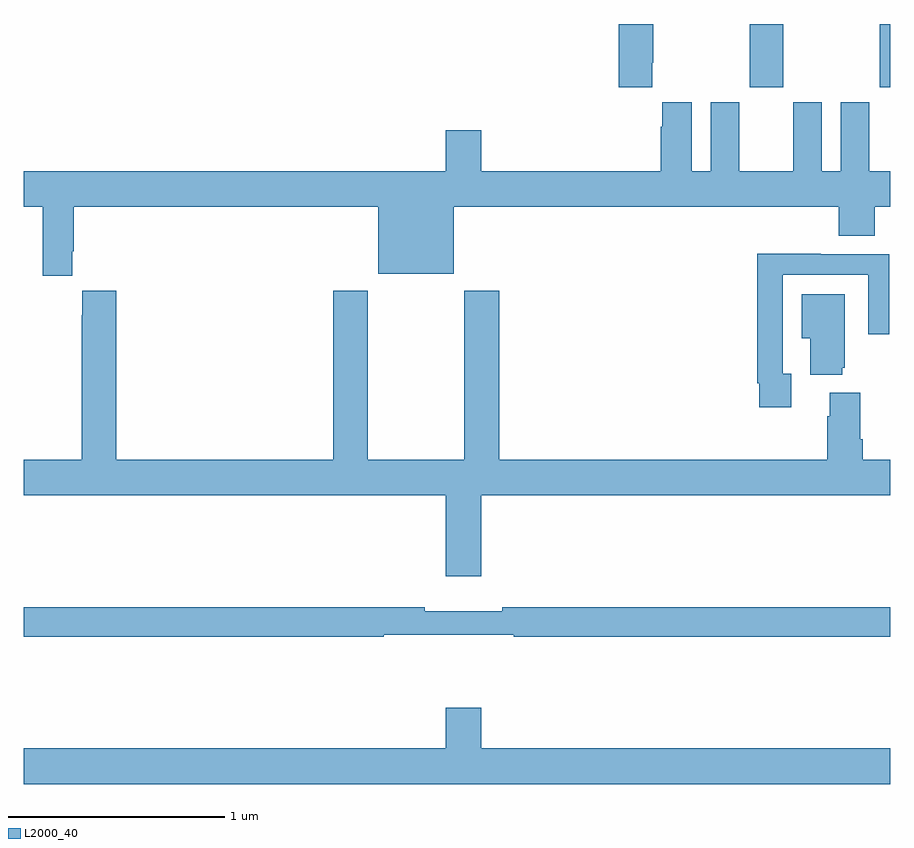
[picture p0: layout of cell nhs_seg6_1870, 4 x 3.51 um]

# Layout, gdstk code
import gdstk
lib = gdstk.Library(unit=1e-6, precision=1e-09)
def R(c, l, rs):  # rectangles x0, y0, x1, y1
    for r in rs: c.add(gdstk.rectangle(r[:2], r[2:], *l))
def P(c, l, *ps):  # polygons
    for p in ps: c.add(gdstk.Polygon(p, *l))
L2000_40 = (2000, 40)

nhs_seg6_1870 = lib.new_cell('nhs_seg6_1870')
R(nhs_seg6_1870, L2000_40, [(226.351,961.209,226.506,961.5), (226.951,961.209,227,961.5)])
P(nhs_seg6_1870, L2000_40, [(225.901,961.321),(225.906,961.321),(225.906,961.5),(225.746,961.5),(225.746,961.209),(225.901,961.209)],
  [(223.225,960.451),(223.232,960.451),(223.232,960.656),(224.636,960.656),(224.636,960.347),(224.986,960.347),(224.986,960.656),(226.763,960.656),(226.763,960.523),(226.928,960.523),(226.928,960.656),(227,960.656),(227,960.82),(226.903,960.82),(226.903,961.138),(226.772,961.138),(226.772,960.82),(226.684,960.82),(226.684,961.138),(226.553,961.138),(226.553,960.82),(226.303,960.82),(226.303,961.138),(226.172,961.138),(226.172,960.82),(226.084,960.82),(226.084,961.138),(225.947,961.138),(225.947,961.025),(225.941,961.025),(225.941,960.82),(225.112,960.82),(225.112,961.009),(224.948,961.009),(224.948,960.82),(223,960.82),(223,960.656),(223.088,960.656),(223.088,960.339),(223.225,960.339)],
  [(226.543,959.886),(226.503,959.886),(226.503,960.342),(226.899,960.342),(226.899,960.069),(226.995,960.069),(226.995,960.438),(226.679,960.438),(226.679,960.44),(226.387,960.44),(226.387,959.842),(226.395,959.842),(226.395,959.73),(226.543,959.73)],
  [(225.112,959.324),(227,959.324),(227,959.488),(226.874,959.488),(226.874,959.584),(226.861,959.584),(226.861,959.797),(226.721,959.797),(226.721,959.69),(226.709,959.69),(226.709,959.488),(225.194,959.488),(225.194,960.268),(225.034,960.268),(225.034,959.488),(224.589,959.488),(224.589,960.268),(224.429,960.268),(224.429,959.488),(223.427,959.488),(223.427,960.268),(223.271,960.268),(223.271,960.155),(223.267,960.155),(223.267,959.488),(223,959.488),(223,959.324),(224.948,959.324),(224.948,958.95),(225.112,958.95)],
  [(226.778,959.913),(226.789,959.913),(226.789,960.253),(226.592,960.253),(226.592,960.05),(226.631,960.05),(226.631,959.882),(226.778,959.882)],
  [(224.662,958.68),(225.262,958.68),(225.262,958.672),(227,958.672),(227,958.808),(225.208,958.808),(225.208,958.789),(224.852,958.789),(224.852,958.808),(223,958.808),(223,958.672),(224.662,958.672)],
  [(227,958.156),(225.112,958.156),(225.112,958.345),(224.948,958.345),(224.948,958.156),(223,958.156),(223,957.992),(227,957.992)])

lib.write_gds('nhs_seg6_1870.gds')
